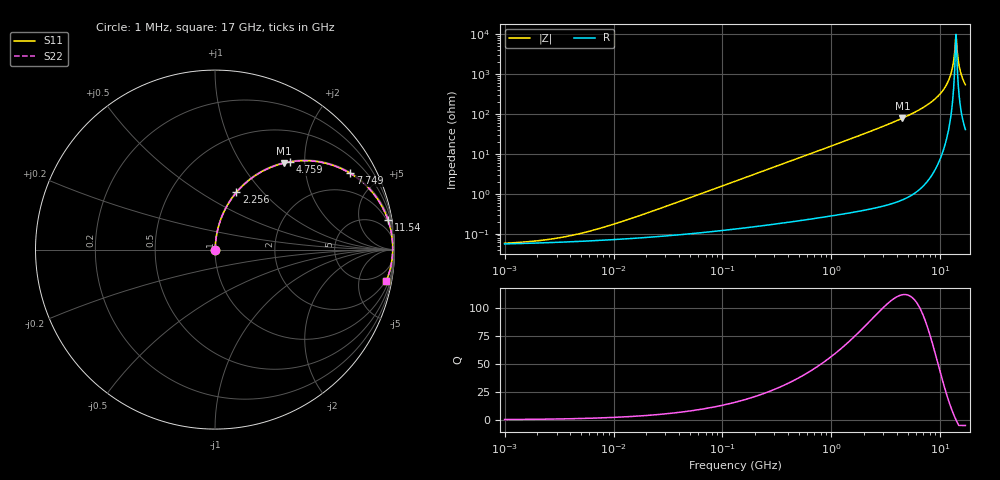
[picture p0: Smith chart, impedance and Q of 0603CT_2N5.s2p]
# MHz  S  MA  R  50
!Freq  MagS11  AngS11  MagS21  AngS21  MagS12  AngS12  MagS22  AngS22
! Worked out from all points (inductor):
!   980 points, 1 MHz to 17 GHz, reference 50 ohm
!   read as one part in series: L = 2.5 nH near 14.39 MHz
!   highest Q = 112 at 4.483 GHz (marker M1), where L = 2.79 nH
!   self-resonance near 13.8 GHz
!   S11 on the Smith chart (normalised r, x): 1 MHz: 1.00, +0.00; 2.256 GHz: 1.01, +0.73; 4.759 GHz: 1.02, +1.69; 7.749 GHz: 1.04, +3.52; 11.54 GHz: 2, +12; 17 GHz: 2, -11
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1  0.0005736 15.9  0.9994 -0.0  0.9994 -0.0  0.0005736 15.9
2.400385  0.0007011 32.5  0.9994 -0.0  0.9994 -0.0  0.0007011 32.5
5.113347  0.001028 51.3  0.9994 -0.0  0.9994 -0.0  0.001028 51.3
25.88745  0.00415 78.0  0.9991 -0.2  0.9991 -0.2  0.00415 78.0
131.0609  0.0206 85.2  0.9985 -1.2  0.9985 -1.2  0.0206 85.2
663.5247  0.1037 82.8  0.9923 -5.9  0.9923 -5.9  0.1037 82.8
2256.244  0.3408 69.4  0.9363 -19.9  0.9363 -19.9  0.3408 69.4
3359.24  0.4868 60.3  0.8689 -29.1  0.8689 -29.1  0.4868 60.3
4482.919  0.6151 51.5  0.783 -38.0  0.783 -38.0  0.6151 51.5
4758.708  0.6432 49.5  0.76 -40.0  0.76 -40.0  0.6432 49.5
7748.835  0.8652 29.4  0.4909 -59.9  0.4909 -59.9  0.8652 29.4
9838.964  0.9451 17.9  0.3066 -70.9  0.3066 -70.9  0.9451 17.9
11536.96  0.9776 9.8  0.1698 -77.6  0.1698 -77.6  0.9776 9.8
12617.8  0.9872 5.1  0.09007 -79.3  0.09007 -79.3  0.9872 5.1
13000.13  0.9889 3.6  0.06339 -78.1  0.06339 -78.1  0.9889 3.6
13527.99  0.9901 1.5  0.02843 -68.7  0.02843 -68.7  0.9901 1.5
13937.9  0.99 -0.0  0.00999 1.3  0.00999 1.3  0.99 -0.0
14360.24  0.9892 -1.6  0.02914 67.5  0.02914 67.5  0.9892 -1.6
14943.32  0.987 -3.6  0.06403 76.5  0.06403 76.5  0.987 -3.6
15396.12  0.9845 -5.2  0.09059 77.6  0.09059 77.6  0.9845 -5.2
16181.47  0.9786 -7.7  0.1347 77.0  0.1347 77.0  0.9786 -7.7
17000  0.9708 -10.2  0.178 75.5  0.178 75.5  0.9708 -10.2
